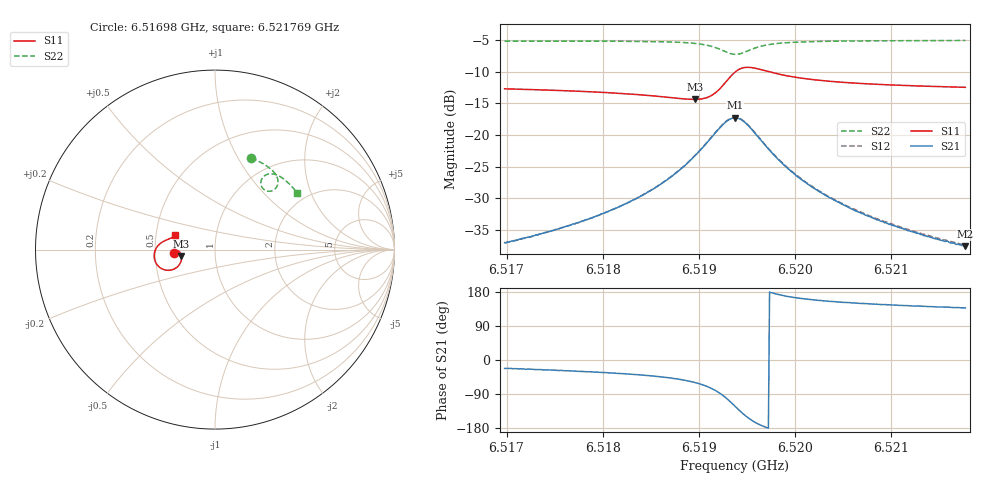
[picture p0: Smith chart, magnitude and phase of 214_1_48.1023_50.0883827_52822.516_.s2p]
#  HZ  S  RI  R  50.00
! Rohde & Schwarz Vector Network Analyzer
! Rohde-Schwarz,ZNB20-2Port,1311601062101988,3.16
! Created: UTC 12/23/2023, 3:56:04 AM
! freq[Hz]  re:S11  im:S11  re:S21  im:S21  re:S12  im:S12  re:S22  im:S22
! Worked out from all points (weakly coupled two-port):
!   401 points, 6.51698 GHz to 6.521769 GHz, reference 50 ohm
!   highest |S21| = -17.30 dB at 6.519374 GHz (marker M1); lowest = -37.6 dB at 6.521769 GHz (marker M2)
!   lowest |S11| = -14.4 dB at 6.518955 GHz (marker M3), VSWR 1.47, Z = 34.2 - j2.52 ohm
!   |S11| at or under -10 dB: start of sweep to 6.519383 GHz; 6.519719 GHz to end of sweep
!   |S22| runs from -7.3 to -5.1 dB; largest |S21 - S12| = 0.0042
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6.5169802e9  -0.2304 -0.0176  0.0131 -0.00533  0.0132 -0.0048  0.2018 0.5097
6.5172555e9  -0.2274 -0.0134  0.0143 -0.00644  0.0145 -0.00613  0.2221 0.5016
6.5177822e9  -0.2203 -0.00698  0.0179 -0.0105  0.0184 -0.00979  0.2612 0.4826
6.5182611e9  -0.2106 -0.00487  0.0233 -0.0175  0.0239 -0.0169  0.2971 0.4598
6.5185843e9  -0.201 -0.00924  0.0289 -0.0277  0.0297 -0.0269  0.3221 0.4384
6.5187758e9  -0.1937 -0.0177  0.0328 -0.0391  0.0341 -0.0383  0.3367 0.4205
6.5189554e9  -0.1872 -0.0355  0.0348 -0.0585  0.0367 -0.0577  0.3484 0.3957
6.5190631e9  -0.1872 -0.0548  0.0316 -0.0771  0.0341 -0.0767  0.3512 0.3748
6.5191469e9  -0.194 -0.0761  0.022 -0.0964  0.0251 -0.0965  0.3463 0.3547
6.5192786e9  -0.2363 -0.1117  -0.0212 -0.1248  -0.0176 -0.1264  0.3139 0.3263
6.5193265e9  -0.2639 -0.1154  -0.0464 -0.1252  -0.0432 -0.1277  0.294 0.3254
6.5193744e9  -0.2934 -0.1081  -0.0723 -0.1158  -0.0693 -0.1187  0.2746 0.3335
6.5194223e9  -0.3182 -0.0899  -0.0922 -0.097  -0.0901 -0.1005  0.2606 0.3493
6.5194821e9  -0.3356 -0.0586  -0.1044 -0.068  -0.1031 -0.0716  0.2552 0.3732
6.5195779e9  -0.3362 -0.0133  -0.0999 -0.0291  -0.1 -0.0323  0.2671 0.4034
6.5196856e9  -0.3206 0.0181  -0.0831 -0.00491  -0.0837 -0.00735  0.2899 0.4187
6.519925e9  -0.2882 0.0451  -0.0529 0.0117  -0.0538 0.0103  0.3313 0.4201
6.5201764e9  -0.2679 0.0545  -0.0361 0.0138  -0.0371 0.013  0.36 0.4086
6.5205475e9  -0.2508 0.0617  -0.0237 0.0128  -0.0243 0.0124  0.3905 0.3876
6.5209785e9  -0.2388 0.068  -0.0163 0.011  -0.0169 0.0109  0.4181 0.362
6.5214334e9  -0.2295 0.0743  -0.0119 0.00976  -0.0124 0.00955  0.443 0.3344
6.5217686e9  -0.2238 0.0788  -0.00975 0.00897  -0.0102 0.00882  0.4593 0.3136
